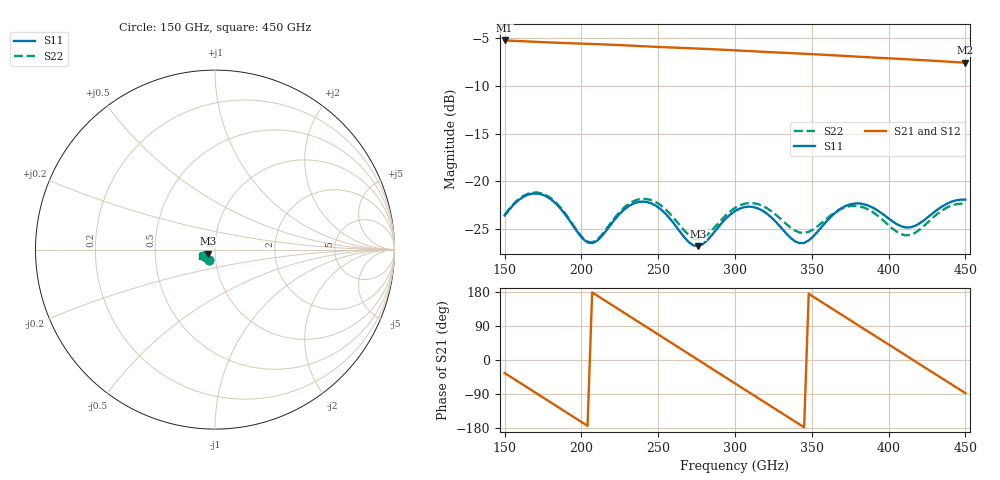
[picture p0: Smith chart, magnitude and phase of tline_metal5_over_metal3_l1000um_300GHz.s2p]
#  GHZ S DB R 50
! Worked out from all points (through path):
!   101 points, 150 GHz to 450 GHz, reference 50 ohm
!   highest |S21| = -5.26 dB at 150 GHz (marker M1); lowest = -7.6 dB at 450 GHz (marker M2)
!   group delay of S21, straight-line fit = 7.16 ps
!   lowest |S11| = -26.8 dB at 276 GHz (marker M3), VSWR 1.10, Z = 46.1 - j2.1 ohm
!   |S11| at or under -10 dB: start of sweep to end of sweep
!   |S22| runs from -26.4 to -21.2 dB; largest |S21 - S12| = 8.7e-14
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150  -23.56 -122.7  -5.26 -34.3  -5.26 -34.3  -23.52 -120.5
162  -21.63 -131.8  -5.35 -65.4  -5.35 -65.4  -21.53 -130.0
174  -21.35 -146.7  -5.43 -96.4  -5.43 -96.4  -21.24 -145.2
186  -22.76 -159.4  -5.51 -127.3  -5.51 -127.3  -22.66 -157.9
201  -26.00 -156.2  -5.60 -166.0  -5.60 -166.0  -25.92 -154.5
216  -25.17 -135.0  -5.69 155.2  -5.69 155.2  -25.02 -132.8
231  -22.56 -140.2  -5.80 116.4  -5.80 116.4  -22.32 -138.0
252  -22.95 -161.9  -5.95 62.2  -5.95 62.2  -22.53 -159.4
264  -25.21 -165.2  -6.04 31.3  -6.04 31.3  -24.57 -163.2
276  -26.77 -150.3  -6.11 0.3  -6.11 0.3  -26.04 -150.8
288  -25.00 -137.9  -6.20 -30.7  -6.20 -30.7  -24.57 -139.2
300  -23.10 -142.6  -6.30 -61.7  -6.30 -61.7  -22.77 -143.0
321  -23.39 -161.0  -6.47 -115.8  -6.47 -115.8  -22.81 -160.2
336  -25.87 -159.9  -6.59 -154.4  -6.59 -154.4  -24.81 -161.3
351  -25.74 -140.3  -6.70 166.9  -6.70 166.9  -25.01 -147.6
366  -23.17 -139.3  -6.83 128.3  -6.83 128.3  -23.14 -146.5
378  -22.30 -148.4  -6.94 97.4  -6.94 97.4  -22.54 -154.7
390  -22.76 -157.1  -7.05 66.6  -7.05 66.6  -23.24 -162.6
402  -24.11 -158.8  -7.15 35.8  -7.15 35.8  -24.85 -162.8
423  -24.06 -143.8  -7.33 -18.2  -7.33 -18.2  -24.65 -143.7
438  -22.33 -145.9  -7.47 -56.7  -7.47 -56.7  -22.73 -146.2
450  -21.90 -153.7  -7.59 -87.4  -7.59 -87.4  -22.35 -154.6
